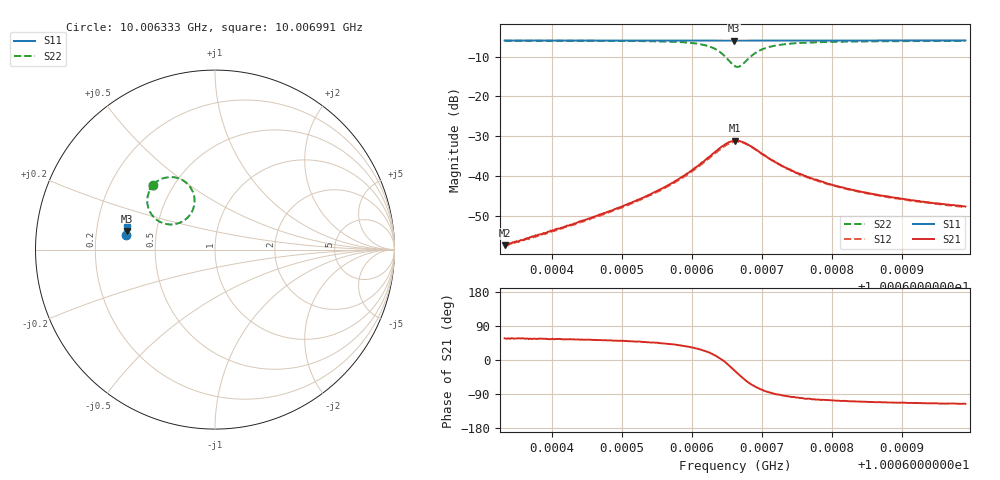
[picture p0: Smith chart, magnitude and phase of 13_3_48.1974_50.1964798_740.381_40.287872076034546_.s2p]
#  HZ  S  RI  R  50.00
! Rohde & Schwarz Vector Network Analyzer
! Rohde-Schwarz,ZNB20-2Port,1311601062101988,3.16
! Created: UTC 3/20/2024, 11:36:38 AM
! freq[Hz]  re:S11  im:S11  re:S21  im:S21  re:S12  im:S12  re:S22  im:S22
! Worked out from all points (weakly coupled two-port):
!   401 points, 10.006333 GHz to 10.006991 GHz, reference 50 ohm
!   highest |S21| = -31.09 dB at 10.006662 GHz (marker M1); lowest = -57.4 dB at 10.006333 GHz (marker M2)
!   lowest |S11| = -6.0 dB at 10.00666 GHz (marker M3), VSWR 3.00, Z = 16.8 + j4.66 ohm
!   |S11| at or under -10 dB: nowhere
!   |S22| runs from -12.6 to -6.0 dB; largest |S21 - S12| = 0.0025
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1.0006333e10  -0.4953 0.0835  0.000729 0.00114  0.000662 0.00114  -0.3449 0.3623
1.00063889e10  -0.4948 0.0873  0.00108 0.00159  0.000978 0.00163  -0.3383 0.3683
1.00064431e10  -0.4941 0.091  0.00159 0.00221  0.00146 0.00224  -0.3296 0.3754
1.00065072e10  -0.4936 0.0951  0.00282 0.00336  0.00259 0.00339  -0.3128 0.3865
1.00065533e10  -0.4928 0.0984  0.00475 0.00471  0.00435 0.00479  -0.2898 0.3967
1.00065927e10  -0.4921 0.1012  0.00863 0.00624  0.00799 0.0064  -0.249 0.404
1.00066239e10  -0.4909 0.1032  0.0161 0.00602  0.0151 0.00633  -0.1803 0.3867
1.00066404e10  -0.49 0.104  0.0225 0.00165  0.0213 0.00292  -0.1304 0.3359
1.00066502e10  -0.4894 0.104  0.0254 -0.00433  0.0245 -0.00235  -0.1138 0.2768
1.00066601e10  -0.489 0.1039  0.0247 -0.0123  0.0249 -0.00981  -0.1316 0.2054
1.00066618e10  -0.4891 0.1038  0.0244 -0.0136  0.0245 -0.0111  -0.1388 0.1946
1.00066683e10  -0.4894 0.1038  0.0211 -0.0178  0.0218 -0.0158  -0.1769 0.1593
1.00066782e10  -0.4899 0.104  0.0143 -0.021  0.0157 -0.0195  -0.2449 0.1399
1.00066897e10  -0.4903 0.1045  0.00785 -0.0206  0.00913 -0.0199  -0.3083 0.1558
1.00067028e10  -0.4908 0.1055  0.00291 -0.0182  0.00416 -0.0178  -0.3489 0.1896
1.00067193e10  -0.4908 0.1068  -2.19e-05 -0.0149  0.000911 -0.0148  -0.37 0.2278
1.0006739e10  -0.4908 0.1083  -0.00137 -0.0121  -0.000699 -0.012  -0.3771 0.26
1.00067719e10  -0.4907 0.1106  -0.00224 -0.00906  -0.00163 -0.00903  -0.3761 0.2926
1.00068212e10  -0.49 0.114  -0.00218 -0.0066  -0.00183 -0.00661  -0.3692 0.3181
1.0006882e10  -0.4893 0.118  -0.00206 -0.00509  -0.0018 -0.00507  -0.3613 0.3353
1.00069297e10  -0.4886 0.1212  -0.00193 -0.00433  -0.00169 -0.00436  -0.3563 0.3439
1.00069905e10  -0.4881 0.125  -0.0018 -0.00373  -0.0016 -0.00375  -0.3507 0.3523
